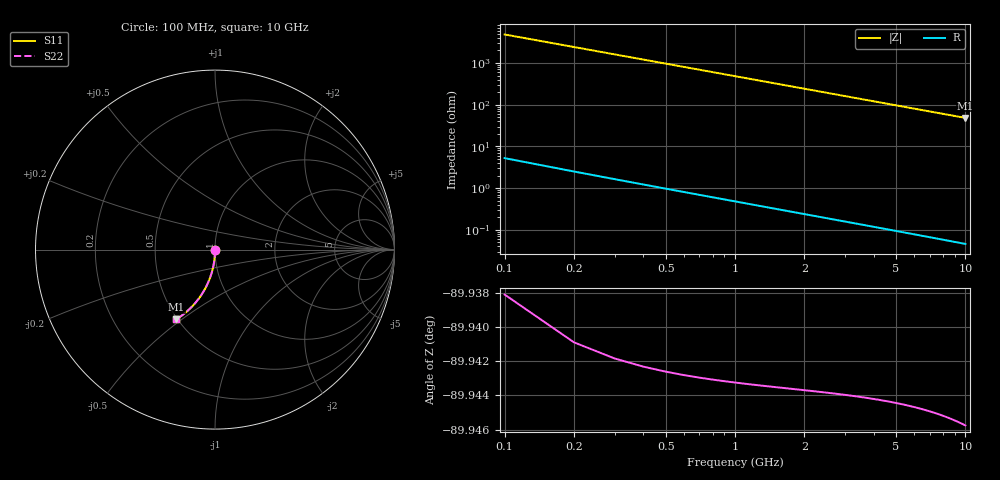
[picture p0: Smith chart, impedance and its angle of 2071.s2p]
# Hz S RI R 50.00
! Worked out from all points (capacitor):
!   100 points, 100 MHz to 10 GHz, reference 50 ohm
!   read as one part in shunt: C = 328 fF near 100 MHz
!   lowest |Z| = 48.3 ohm at 10 GHz (marker M1)
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1e8  4.62e-05 -0.00493  0.9999 -0.00538  0.9999 -0.00538  4.62e-05 -0.00493
2e8  -3.8e-05 -0.00987  0.9998 -0.0108  0.9998 -0.0108  -3.8e-05 -0.00987
3e8  -0.000176 -0.0148  0.9997 -0.0161  0.9997 -0.0161  -0.000176 -0.0148
4e8  -0.000366 -0.0197  0.9995 -0.0215  0.9995 -0.0215  -0.000366 -0.0197
5e8  -0.00061 -0.0247  0.9992 -0.0269  0.9992 -0.0269  -0.00061 -0.0247
6e8  -0.000907 -0.0296  0.9989 -0.0323  0.9989 -0.0323  -0.000907 -0.0296
7e8  -0.00126 -0.0345  0.9986 -0.0376  0.9986 -0.0376  -0.00126 -0.0345
8e8  -0.00166 -0.0394  0.9982 -0.043  0.9982 -0.043  -0.00166 -0.0394
9e8  -0.00211 -0.0443  0.9977 -0.0484  0.9977 -0.0484  -0.00211 -0.0443
1.1e9  -0.00318 -0.0541  0.9966 -0.0591  0.9966 -0.0591  -0.00318 -0.0541
1.4e9  -0.00518 -0.0687  0.9946 -0.075  0.9946 -0.075  -0.00518 -0.0687
1.8e9  -0.00856 -0.0881  0.9912 -0.0962  0.9912 -0.0962  -0.00856 -0.0881
2.1e9  -0.0116 -0.1025  0.9882 -0.1119  0.9882 -0.1119  -0.0116 -0.1025
2.5e9  -0.0164 -0.1214  0.9833 -0.1327  0.9833 -0.1327  -0.0164 -0.1214
2.9e9  -0.022 -0.1401  0.9777 -0.1532  0.9777 -0.1532  -0.022 -0.1401
3.4e9  -0.0301 -0.163  0.9697 -0.1783  0.9697 -0.1783  -0.0301 -0.163
4.2e9  -0.0452 -0.1982  0.9544 -0.2172  0.9544 -0.2172  -0.0452 -0.1982
5.1e9  -0.0654 -0.2357  0.9341 -0.2587  0.9341 -0.2587  -0.0654 -0.2357
5.9e9  -0.0859 -0.2667  0.9136 -0.2935  0.9136 -0.2935  -0.0859 -0.2667
6.7e9  -0.1083 -0.2954  0.8911 -0.3259  0.8911 -0.3259  -0.1083 -0.2954
8.4e9  -0.161 -0.3483  0.8381 -0.3866  0.8381 -0.3866  -0.161 -0.3483
1e10  -0.2147 -0.3876  0.784 -0.4335  0.784 -0.4335  -0.2147 -0.3876
